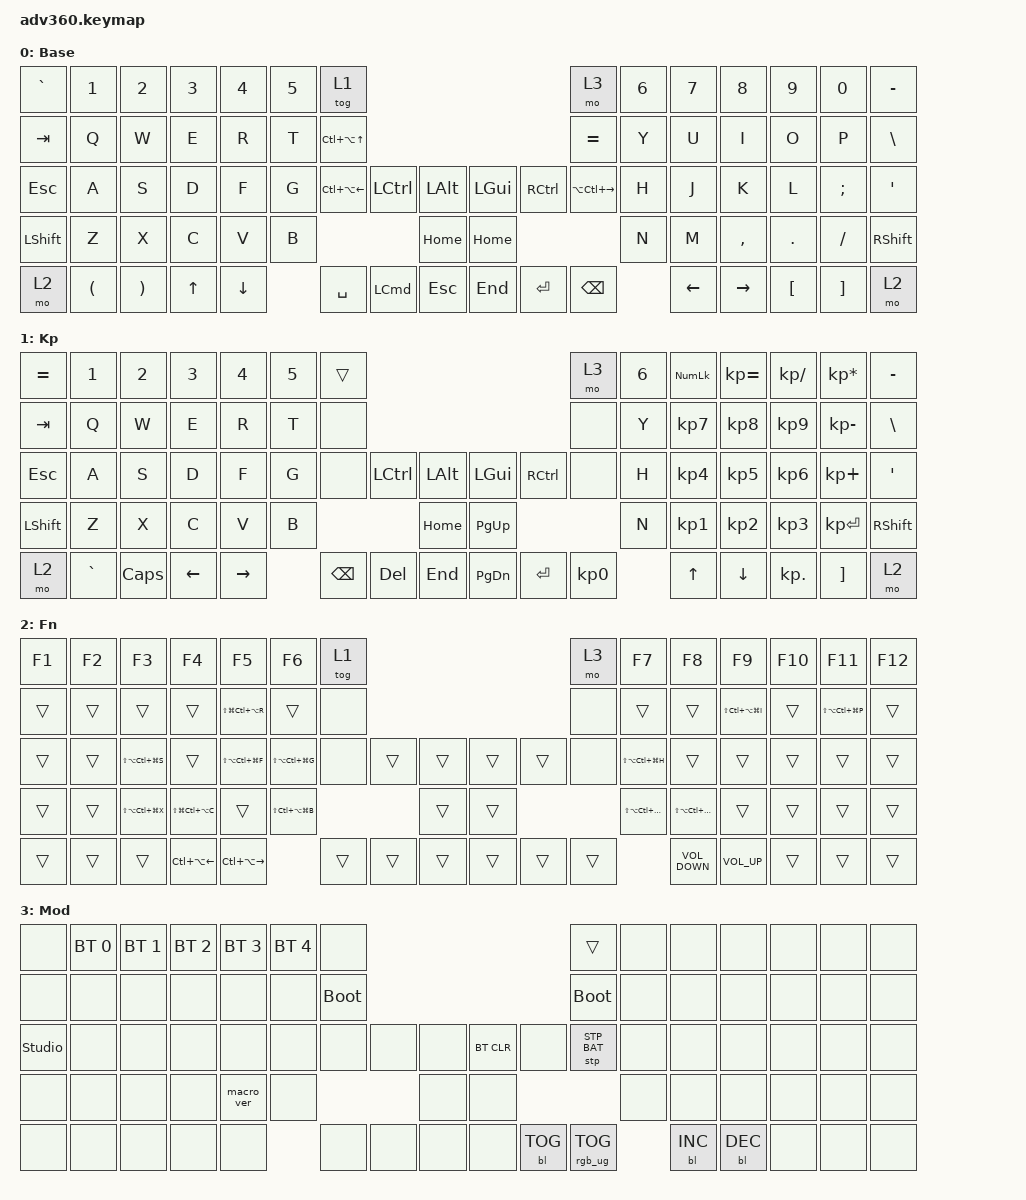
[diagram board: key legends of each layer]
#include <dt-bindings/zmk/stp.h>
#include <behaviors.dtsi>
#include <dt-bindings/zmk/backlight.h>
#include <dt-bindings/zmk/bt.h>
#include <dt-bindings/zmk/keys.h>
#include <dt-bindings/zmk/rgb.h>

/ {
    behaviors {
        #include "macros.dtsi"
      #include "version.dtsi"

        hm: homerow_mods {
            compatible = "zmk,behavior-hold-tap";
            label = "HOMEROW_MODS";
            #binding-cells = <2>;
            tapping-term-ms = <200>;
            quick_tap_ms = <175>;
            flavor = "tap-preferred";
            bindings = <&kp>, <&kp>;
        };
    };

    keymap {
        compatible = "zmk,keymap";

        default_layer {
            display-name = "Base";
            bindings = <
&kp GRAVE  &kp N1                &kp N2                 &kp N3        &kp N4          &kp N5  &tog 1                                                                       &mo 3              &kp N6  &kp N7    &kp N8     &kp N9    &kp N0    &kp MINUS
&kp TAB    &kp Q                 &kp W                  &kp E         &kp R           &kp T   &kp LC(LA(UP_ARROW))                                                         &kp EQUAL          &kp Y   &kp U     &kp I      &kp O     &kp P     &kp BSLH
&kp ESC    &kp A                 &kp S                  &kp D         &kp F           &kp G   &kp LC(LA(LEFT))      &kp LCTRL         &kp LALT        &kp LGUI  &kp RCTRL  &kp LA(LC(RIGHT))  &kp H   &kp J     &kp K      &kp L     &kp SEMI  &kp SQT
&kp LSHFT  &kp Z                 &kp X                  &kp C         &kp V           &kp B                                           &kp HOME        &kp HOME                                &kp N   &kp M     &kp COMMA  &kp DOT   &kp FSLH  &kp RSHFT
&mo 2      &kp LEFT_PARENTHESIS  &kp RIGHT_PARENTHESIS  &kp UP_ARROW  &kp DOWN_ARROW          &kp SPACE             &kp LEFT_COMMAND  &kp ESCAPE      &kp END   &kp ENTER  &kp BACKSPACE              &kp LEFT  &kp RIGHT  &kp LBKT  &kp RBKT  &mo 2
            >;
        };

        keypad {
            display-name = "Kp";
            bindings = <
&kp EQUAL  &kp N1     &kp N2    &kp N3    &kp N4     &kp N5  &trans                                                   &mo 3      &kp N6  &kp KP_NUM  &kp KP_EQUAL  &kp KP_DIVIDE  &kp KP_MULTIPLY  &kp MINUS
&kp TAB    &kp Q      &kp W     &kp E     &kp R      &kp T   &none                                                    &none      &kp Y   &kp KP_N7   &kp KP_N8     &kp KP_N9      &kp KP_MINUS     &kp BSLH
&kp ESC    &kp A      &kp S     &kp D     &kp F      &kp G   &none     &kp LCTRL  &kp LALT      &kp LGUI   &kp RCTRL  &none      &kp H   &kp KP_N4   &kp KP_N5     &kp KP_N6      &kp KP_PLUS      &kp SQT
&kp LSHFT  &kp Z      &kp X     &kp C     &kp V      &kp B                        &kp HOME      &kp PG_UP                        &kp N   &kp KP_N1   &kp KP_N2     &kp KP_N3      &kp KP_ENTER     &kp RSHFT
&mo 2      &kp GRAVE  &kp CAPS  &kp LEFT  &kp RIGHT          &kp BSPC  &kp DEL    &kp END       &kp PG_DN  &kp ENTER  &kp KP_N0          &kp UP      &kp DOWN      &kp KP_DOT     &kp RBKT         &mo 2
            >;
        };

        fn {
            display-name = "Fn";
            bindings = <
&kp F1  &kp F2  &kp F3                 &kp F4                  &kp F5                   &kp F6                 &tog 1                                      &mo 3   &kp F7                     &kp F8                 &kp F9                 &kp F10  &kp F11                &kp F12
&trans  &trans  &trans                 &trans                  &kp LS(LG(LC(LA(R))))    &trans                 &none                                       &none   &trans                     &trans                 &kp LS(LC(LA(LG(I))))  &trans   &kp LS(LA(LC(LG(P))))  &trans
&trans  &trans  &kp LS(LA(LC(LG(S))))  &trans                  &kp LS(LA(LC(LG(F))))    &kp LS(LA(LC(LG(G))))  &none   &trans  &trans      &trans  &trans  &none   &kp LS(LA(LC(LG(H))))      &trans                 &trans                 &trans   &trans                 &trans
&trans  &trans  &kp LS(LA(LC(LG(X))))  &kp LS(LG(LC(LA(C))))   &trans                   &kp LS(LC(LA(LG(B))))                  &trans      &trans                  &kp LS(LA(LC(LG(RS(N)))))  &kp LS(LA(LC(LG(M))))  &trans                 &trans   &trans                 &trans
&trans  &trans  &trans                 &kp LC(LA(LEFT_ARROW))  &kp LC(LA(RIGHT_ARROW))                         &trans  &trans  &trans      &trans  &trans  &trans                             &kp C_VOLUME_DOWN      &kp C_VOLUME_UP        &trans   &trans                 &trans
            >;
        };

        mod {
            display-name = "Mod";
            bindings = <
&none           &bt BT_SEL 0  &bt BT_SEL 1  &bt BT_SEL 2  &bt BT_SEL 3  &bt BT_SEL 4  &none                                                  &trans           &none  &none       &none       &none  &none  &none
&none           &none         &none         &none         &none         &none         &bootloader                                            &bootloader      &none  &none       &none       &none  &none  &none
&studio_unlock  &none         &none         &none         &none         &none         &none        &none  &none      &bt BT_CLR  &none       &stp STP_BAT     &none  &none       &none       &none  &none  &none
&none           &none         &none         &none         &macro_ver    &none                             &none      &none                                    &none  &none       &none       &none  &none  &none
&none           &none         &none         &none         &none                       &none        &none  &none      &none       &bl BL_TOG  &rgb_ug RGB_TOG         &bl BL_INC  &bl BL_DEC  &none  &none  &none
            >;
        };

        extra1 {
            display-name = "Red";
            status = "reserved";
        };

        extra2 {
            display-name = "Purple";
            status = "reserved";
        };

        extra3 {
            display-name = "Cyan";
            status = "reserved";
        };

        extra4 {
            display-name = "Yellow";
            status = "reserved";
        };
    };
};
